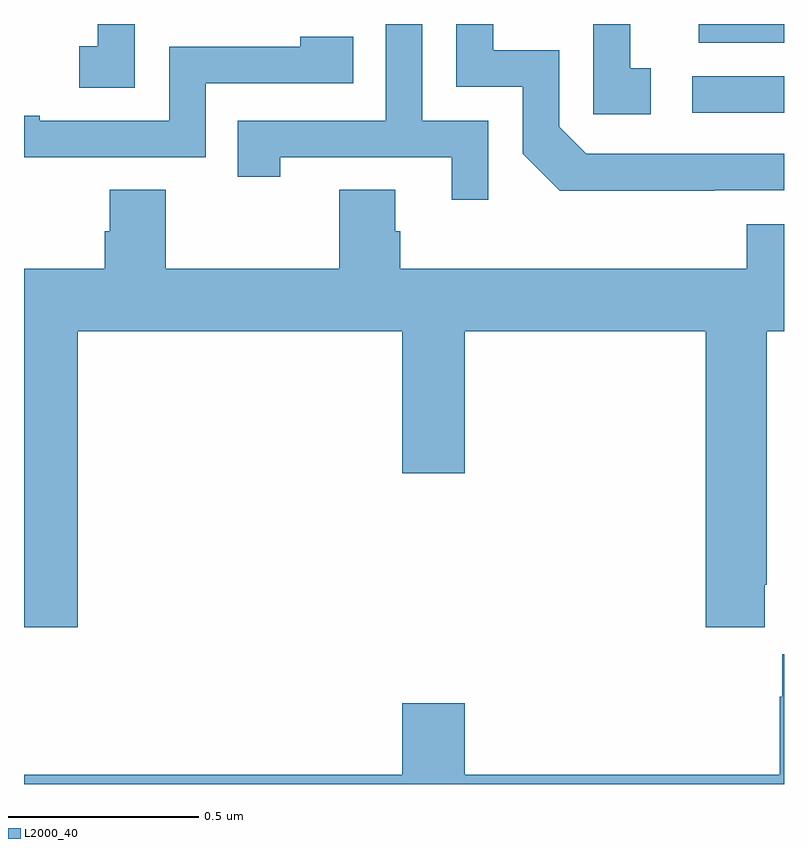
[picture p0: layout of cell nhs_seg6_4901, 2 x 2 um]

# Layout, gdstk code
import gdstk
lib = gdstk.Library(unit=1e-6, precision=1e-09)
def R(c, l, rs):  # rectangles x0, y0, x1, y1
    for r in rs: c.add(gdstk.rectangle(r[:2], r[2:], *l))
def P(c, l, *ps):  # polygons
    for p in ps: c.add(gdstk.Polygon(p, *l))
L2000_40 = (2000, 40)

nhs_seg6_4901 = lib.new_cell('nhs_seg6_4901')
R(nhs_seg6_4901, L2000_40, [(177.759,925.266,178,925.362), (177.776,925.451,178,925.5)])
P(nhs_seg6_4901, L2000_40, [(177.649,925.383),(177.596,925.383),(177.596,925.5),(177.498,925.5),(177.498,925.263),(177.649,925.263)],
  [(176.292,925.5),(176.194,925.5),(176.194,925.441),(176.145,925.441),(176.145,925.332),(176.292,925.332)],
  [(177.222,925.245),(177.048,925.245),(177.048,925.5),(176.952,925.5),(176.952,925.245),(176.563,925.245),(176.563,925.098),(176.674,925.098),(176.674,925.149),(177.125,925.149),(177.125,925.038),(177.222,925.038)],
  [(177.818,925.062),(178,925.062),(178,925.158),(177.48,925.158),(177.408,925.23),(177.408,925.431),(177.235,925.431),(177.235,925.5),(177.138,925.5),(177.138,925.335),(177.312,925.335),(177.312,925.158),(177.41,925.061),(177.818,925.061)],
  [(176.478,925.344),(176.867,925.344),(176.867,925.467),(176.727,925.467),(176.727,925.44),(176.382,925.44),(176.382,925.245),(176.041,925.245),(176.041,925.258),(176,925.258),(176,925.149),(176.478,925.149)],
  [(176.141,924.692),(176.996,924.692),(176.996,924.318),(177.16,924.318),(177.16,924.692),(177.794,924.692),(177.794,923.913),(177.949,923.913),(177.949,924.025),(177.954,924.025),(177.954,924.692),(178,924.692),(178,924.973),(177.902,924.973),(177.902,924.856),(176.99,924.856),(176.99,924.954),(176.977,924.954),(176.977,925.064),(176.83,925.064),(176.83,924.856),(176.373,924.856),(176.373,925.064),(176.225,925.064),(176.225,924.954),(176.213,924.954),(176.213,924.856),(176,924.856),(176,923.913),(176.141,923.913)],
  [(178,923.842),(177.995,923.842),(177.995,923.729),(177.989,923.729),(177.989,923.524),(177.16,923.524),(177.16,923.713),(176.996,923.713),(176.996,923.524),(176,923.524),(176,923.5),(178,923.5)])

lib.write_gds('nhs_seg6_4901.gds')
